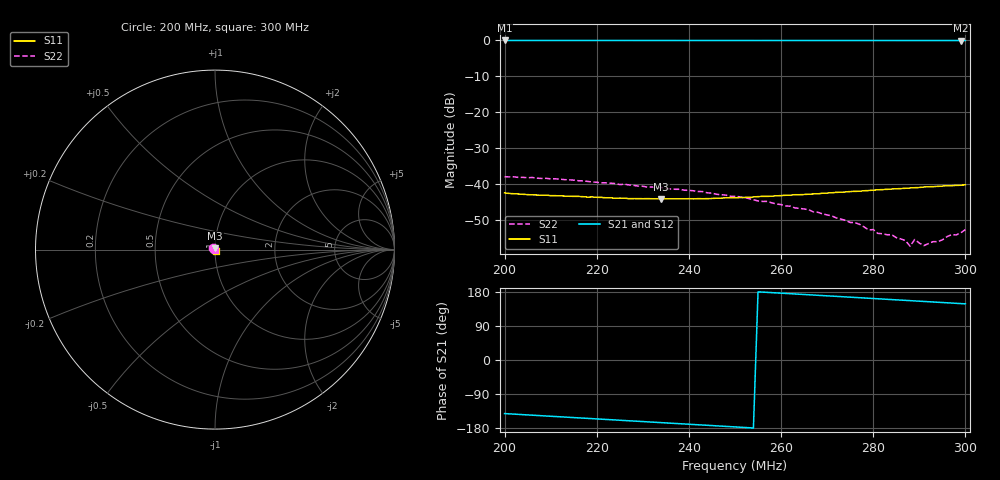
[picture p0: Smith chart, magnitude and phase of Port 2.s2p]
! RsaToolbox (C) 2014 Rohde & Schwarz America
! Number of points: 101
! Number of ports: 2
! Balanced ports?: No
# Hz S RI R 50
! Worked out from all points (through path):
!   101 points, 200 MHz to 300 MHz, reference 50 ohm
!   highest |S21| = -0.10 dB at 200 MHz (marker M1); lowest = -0.1 dB at 299 MHz (marker M2)
!   group delay of S21, straight-line fit = 1.96 ns
!   lowest |S11| = -44.1 dB at 234 MHz (marker M3), VSWR 1.01, Z = 50.1 + j0.615 ohm
!   |S11| at or under -10 dB: start of sweep to end of sweep
!   |S22| runs from -57.2 to -37.9 dB; largest |S21 - S12| = 0
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2e8  -0.00605 0.00451  -0.7719 -0.6169  -0.7719 -0.6169  -0.0104 0.00723
2.17e8  -0.00279 0.00608  -0.8828 -0.443  -0.8828 -0.443  -0.00706 0.00857
2.34e8  0.000918 0.00614  -0.9551 -0.2503  -0.9551 -0.2503  -0.00374 0.00817
2.5e8  0.00426 0.00484  -0.9852 -0.0587  -0.9852 -0.0587  -0.00121 0.00665
2.57e8  0.00553 0.00387  -0.9866 0.0263  -0.9866 0.0263  -0.000573 0.00573
2.66e8  0.00688 0.00225  -0.9774 0.1351  -0.9774 0.1351  0.000242 0.0044
2.67e8  0.00701 0.00204  -0.9756 0.1471  -0.9756 0.1471  0.000375 0.00409
2.76e8  0.00792 0.000199  -0.9532 0.2539  -0.9532 0.2539  0.00111 0.0027
2.79e8  0.00813 -0.000527  -0.9432 0.2888  -0.9432 0.2888  0.00118 0.00198
2.8e8  0.0082 -0.000757  -0.9395 0.3004  -0.9395 0.3004  0.00128 0.00195
2.81e8  0.00827 -0.000991  -0.9358 0.312  -0.9358 0.312  0.00126 0.00164
2.84e8  0.00838 -0.00166  -0.9235 0.3463  -0.9235 0.3463  0.0015 0.0013
2.87e8  0.00841 -0.00239  -0.91 0.3801  -0.91 0.3801  0.00153 0.000598
2.88e8  0.00842 -0.00267  -0.9053 0.3913  -0.9053 0.3913  0.0013 0.000434
2.89e8  0.00844 -0.00287  -0.9004 0.4024  -0.9004 0.4024  0.0017 0.000121
2.91e8  0.00846 -0.00339  -0.8902 0.4244  -0.8902 0.4244  0.00139 -0.000182
2.93e8  0.00841 -0.00382  -0.8794 0.4461  -0.8794 0.4461  0.00151 -0.000491
2.94e8  0.00837 -0.00401  -0.8738 0.4569  -0.8738 0.4569  0.00149 -0.000548
2.97e8  0.00823 -0.00477  -0.8563 0.4889  -0.8563 0.4889  0.00157 -0.00121
2.98e8  0.00819 -0.00502  -0.8502 0.4993  -0.8502 0.4993  0.0014 -0.00138
2.99e8  0.00808 -0.00527  -0.844 0.5097  -0.844 0.5097  0.00152 -0.00146
3e8  0.00806 -0.00553  -0.8376 0.5201  -0.8376 0.5201  0.00136 -0.0019
